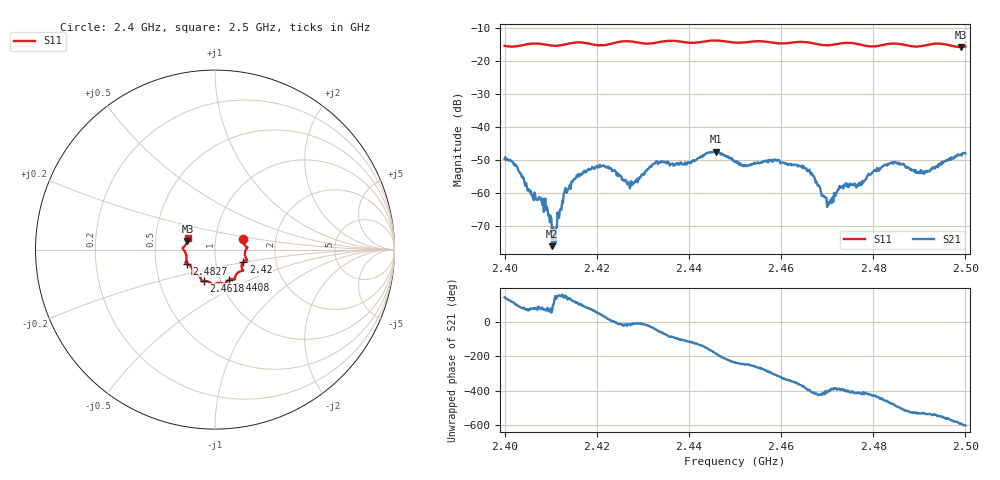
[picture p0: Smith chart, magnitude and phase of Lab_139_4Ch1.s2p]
# Hz S RI R 50
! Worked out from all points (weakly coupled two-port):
!   601 points, 2.4 GHz to 2.5 GHz, reference 50 ohm
!   highest |S21| = -47.57 dB at 2.4458 GHz (marker M1); lowest = -76.2 dB at 2.4103 GHz (marker M2)
!   lowest |S11| = -15.9 dB at 2.499 GHz (marker M3), VSWR 1.38, Z = 36.6 + j3.59 ohm
!   |S11| at or under -10 dB: start of sweep to end of sweep
!   S12 and S22 are empty: the file has one direction only
!   S11 on the Smith chart (normalised r, x): 2.4 GHz: 1.35, +0.17; 2.42 GHz: 1.36, -0.19; 2.4408 GHz: 1.10, -0.38; 2.4618 GHz: 0.84, -0.30; 2.4827 GHz: 0.72, -0.12; 2.5 GHz: 0.73, +0.09
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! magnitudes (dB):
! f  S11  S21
! 2.4 GHz  -15.5  -49.8
! 2.4083 GHz  -15.0  -61.9
! 2.4103 GHz  -15.5  -76.2
! 2.4108 GHz  -15.5  -71.3
! 2.4133 GHz  -15.0  -58.9
! 2.4167 GHz  -14.5  -54.5
! 2.42 GHz  -15.3  -52.3
! 2.4277 GHz  -14.2  -57.6
! 2.4333 GHz  -14.5  -51.3
! 2.4408 GHz  -14.6  -50.4
! 2.4458 GHz  -13.9  -47.6
! 2.45 GHz  -14.6  -50.5
! 2.4618 GHz  -14.6  -51.4
! 2.4667 GHz  -14.7  -54.0
! 2.4705 GHz  -15.3  -62.9
! 2.4728 GHz  -14.8  -58.5
! 2.4767 GHz  -15.0  -57.4
! 2.4827 GHz  -15.1  -51.5
! 2.4833 GHz  -15.0  -51.4
! 2.4912 GHz  -15.4  -54.1
! 2.499 GHz  -15.9  -48.4
! 2.5 GHz  -15.7  -48.1
